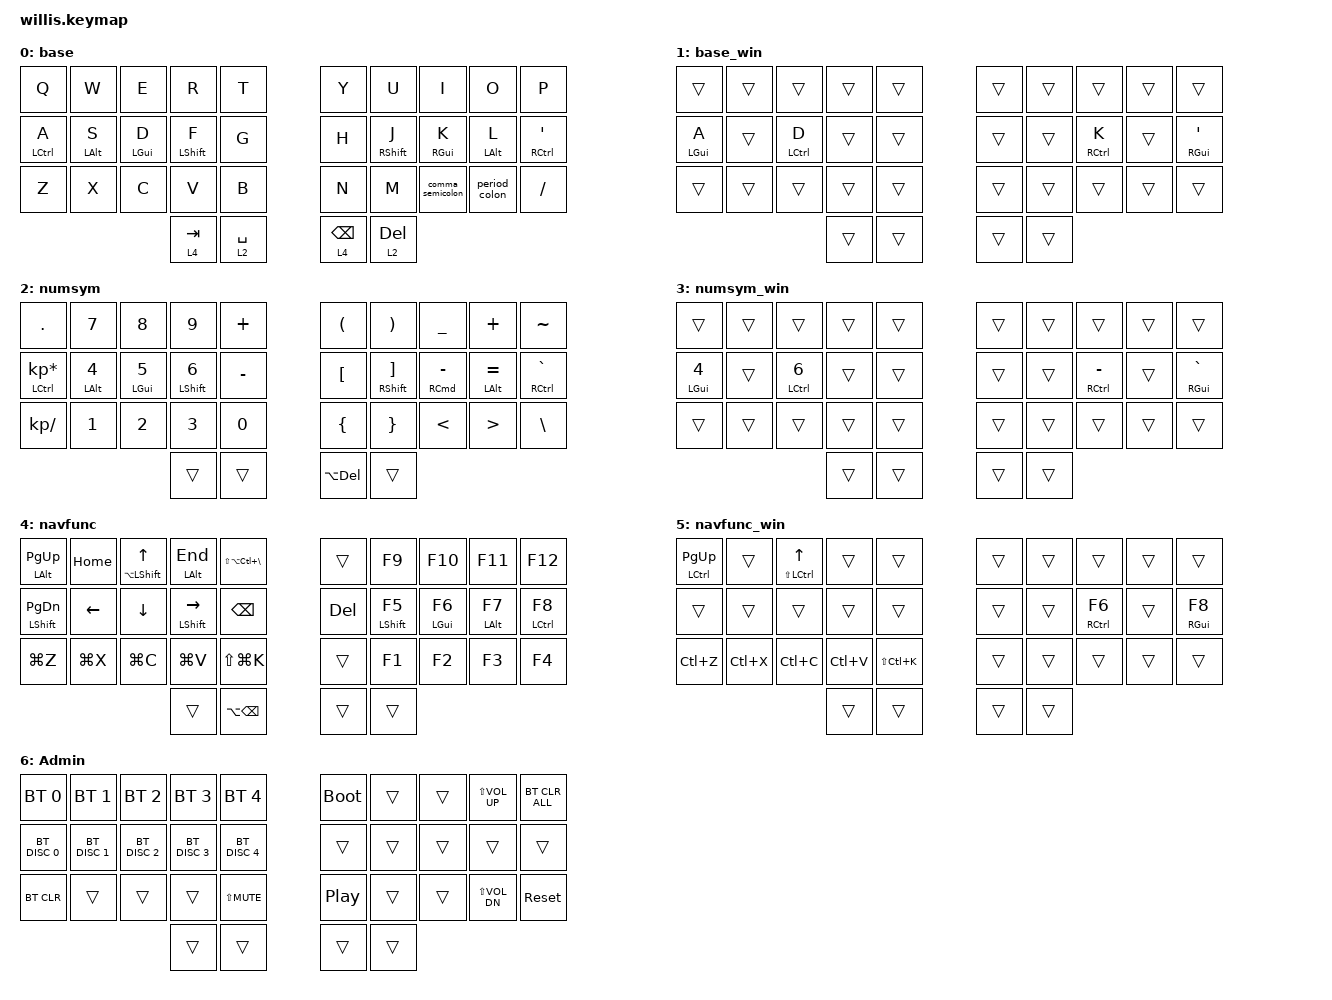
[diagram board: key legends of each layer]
// Copyright (c) 2022 The ZMK Contributors
// SPDX-License-Identifier: MIT

#include <behaviors.dtsi>
#include <dt-bindings/zmk/bt.h>
#include <dt-bindings/zmk/keys.h>

&lt {
    quick-tap-ms = <200>;
    flavor = "balanced";
    hold-while-undecided;
};

&mt { quick-tap-ms = <200>; };

/ {
    behaviors {
        hml: HOMEROW_L_MODS {
            compatible = "zmk,behavior-hold-tap";
            label = "HOMEROW_L_MODS";
            bindings = <&kp>, <&kp>;

            #binding-cells = <2>;
            tapping-term-ms = <200>;
            quick-tap-ms = <200>;
            flavor = "balanced";
            require-prior-idle-ms = <150>;
            hold-trigger-key-positions = <5 6 7 8 9 15 16 17 18 19 25 26 27 28 29 33 32 13 12 11 10>;
        };

        hsl: HOMEROW_L_SHIFT {
            compatible = "zmk,behavior-hold-tap";
            label = "HOMEROW_L_SHIFT";
            bindings = <&kp>, <&kp>;

            #binding-cells = <2>;
            tapping-term-ms = <200>;
            quick-tap-ms = <200>;
            flavor = "balanced";
            require-prior-idle-ms = <0>;
            hold-trigger-key-positions = <5 15 25 6 16 26 7 8 9 9 17 18 19 27 28 29 33 13 12 11 10 32>;
        };

        esc: esc {
            compatible = "zmk,behavior-tap-dance";
            label = "ESC";
            #binding-cells = <0>;
            bindings = <&kp Q>, <&kp ESC>;

            tapping-term-ms = <200>;
        };

        tab: tab {
            compatible = "zmk,behavior-tap-dance";
            label = "TAB";
            #binding-cells = <0>;
            bindings = <&mt LCTRL ENTER>, <&kp TAB>;

            tapping-term-ms = <250>;
        };

        comma_semicolon: comma_semicolon {
            compatible = "zmk,behavior-mod-morph";
            label = "COMMA_SEMICOLON";
            bindings = <&kp COMMA>, <&kp SEMICOLON>;

            #binding-cells = <0>;
            mods = <(MOD_LSFT|MOD_RSFT)>;
        };

        period_colon: period_colon {
            compatible = "zmk,behavior-mod-morph";
            label = "PERIOD_COLON";
            bindings = <&kp PERIOD>, <&kp COLON>;

            #binding-cells = <0>;
            mods = <(MOD_LSFT|MOD_RSFT)>;
        };

        hmr: HOMEROW_R_MODS {
            compatible = "zmk,behavior-hold-tap";
            label = "HOMEROW_R_MODS";
            bindings = <&kp>, <&kp>;

            #binding-cells = <2>;
            tapping-term-ms = <200>;
            quick-tap-ms = <200>;
            flavor = "balanced";
            require-prior-idle-ms = <150>;
            hold-trigger-key-positions = <0 1 2 3 4 10 11 12 13 14 20 21 22 23 24 30 31 16 17 18 19>;
        };

        hsr: HOMEROW_R_SHIFT {
            compatible = "zmk,behavior-hold-tap";
            label = "HOMEROW_R_SHIFT";
            bindings = <&kp>, <&kp>;

            #binding-cells = <2>;
            tapping-term-ms = <200>;
            quick-tap-ms = <200>;
            flavor = "balanced";
            require-prior-idle-ms = <0>;
            hold-trigger-key-positions = <0 1 2 3 4 10 11 12 13 14 20 21 22 23 24 30 16 17 18 19>;
        };
    };

    combos {
        compatible = "zmk,combos";

        left_enter {
            bindings = <&kp ENTER>;
            key-positions = <1 12 23>;
        };

        right_enter {
            bindings = <&kp ENTER>;
            key-positions = <8 17 26>;
        };

        esc {
            bindings = <&kp ESCAPE>;
            key-positions = <0 1>;
        };

        tab {
            bindings = <&kp TAB>;
            key-positions = <3 14>;
        };

        shift_tab {
            bindings = <&kp LS(TAB)>;
            key-positions = <2 13>;
        };

        hold_space {
            bindings = <&kp SPACE>;
            key-positions = <23 31>;
        };

        caps_word {
            bindings = <&caps_word>;
            key-positions = <13 16>;
        };

        toggle_nav {
            bindings = <&tog 2>;
            key-positions = <11 2 13>;
            layers = <0 2>;
            require-prior-idle-ms = <350>;
        };

        jsdoc {
            bindings = <&jsdoc>;
            key-positions = <29 28>;
        };

        caps_lock {
            bindings = <&kp CAPSLOCK>;
            key-positions = <13 12 16 17>;
        };

        screen_shot {
            bindings = <&kp LS(LG(N5))>;
            key-positions = <0 11>;
        };

        soft_off {
            bindings = <&soft_off>;
            key-positions = <0 32 9 31>;
        };

        bootloader {
            bindings = <&bootloader>;
            key-positions = <4 14 5 15>;
        };

        bt_clear_all {
            bindings = <&bt BT_CLR_ALL>;
            key-positions = <20 21 29 28 22 27>;
        };

        reset {
            bindings = <&sys_reset>;
            key-positions = <30 31 32 33 34 35>;
        };

        globe {
            bindings = <&kp GLOBE>;
            key-positions = <21 20 22>;
        };

        toggle_win {
            bindings = <&tog 1>;
            key-positions = <0 9>;
        };

        screenshot_win {
            bindings = <&kp LS(LG(S))>;
            key-positions = <0 11>;
            layers = <1>;
        };

        force_quit_mac {
            bindings = <&kp LA(LG(ESCAPE))>;
            key-positions = <0 1 2>;
        };

        mo_6_left {
            bindings = <&mo 6>;
            key-positions = <30 31>;
        };

        mo_6_right {
            bindings = <&mo 6>;
            key-positions = <32 33>;
        };

        studio_unlock {
            bindings = <&studio_unlock>;
            key-positions = <20 21 28 29>;
        };
    };

    macros {
        jsdoc: jsdoc {
            compatible = "zmk,behavior-macro";
            #binding-cells = <0>;
            bindings = <&kp FSLH &kp STAR &kp STAR &kp SPACE>;
            label = "JSDOC";
        };
    };

    keymap {
        compatible = "zmk,keymap";

        base {
            bindings = <
&kp Q         &kp W        &kp E            &kp R         &kp T        &kp Y            &kp U         &kp I             &kp O          &kp P
&hml LCTRL A  &hml LALT S  &hml LEFT_GUI D  &hml LSHFT F  &kp G        &kp H            &hsr RSHFT J  &hmr RIGHT_GUI K  &hmr LALT L    &hmr RCTRL SINGLE_QUOTE
&kp Z         &kp X        &kp C            &kp V         &kp B        &kp N            &kp M         &comma_semicolon  &period_colon  &kp FSLH
                           &lt 4 TAB                      &lt 2 SPACE  &lt 4 BACKSPACE                &lt 2 DELETE
            >;
        };

        base_win {
            bindings = <
&trans       &trans  &trans        &trans  &trans  &trans  &trans  &trans        &trans  &trans
&hml LGUI A  &trans  &hml LCTRL D  &trans  &trans  &trans  &trans  &hmr RCTRL K  &trans  &hmr RGUI SQT
&trans       &trans  &trans        &trans  &trans  &trans  &trans  &trans        &trans  &trans
                     &trans                &trans  &trans          &trans
            >;
        };

        numsym {
            bindings = <
&kp PERIOD              &kp N7                  &kp N8            &kp N9                    &kp PLUS   &kp LEFT_PARENTHESIS  &kp RIGHT_PARENTHESIS     &kp UNDER        &kp PLUS             &kp TILDE
&hml LCTRL KP_MULTIPLY  &hml LEFT_ALT NUMBER_4  &hml LEFT_GUI N5  &hsl LEFT_SHIFT NUMBER_6  &kp MINUS  &kp LEFT_BRACKET      &hsr RSHFT RIGHT_BRACKET  &hmr RCMD MINUS  &hmr LEFT_ALT EQUAL  &hmr RCTRL GRAVE
&kp KP_DIVIDE           &kp NUMBER_1            &kp NUMBER_2      &kp NUMBER_3              &kp N0     &kp LEFT_BRACE        &kp RIGHT_BRACE           &kp LESS_THAN    &kp GREATER_THAN     &kp BACKSLASH
                                                &trans                                      &trans     &kp LA(DELETE)                                  &trans
            >;
        };

        numsym_win {
            bindings = <
&trans              &trans  &trans         &trans  &trans  &trans  &trans  &trans            &trans  &trans
&hml LGUI NUMBER_4  &trans  &hml LCTRL N6  &trans  &trans  &trans  &trans  &hmr RCTRL MINUS  &trans  &hmr RGUI GRAVE
&trans              &trans  &trans         &trans  &trans  &trans  &trans  &trans            &trans  &trans
                            &trans                 &trans  &trans          &trans
            >;
        };

        navfunc {
            bindings = <
&mt LALT PG_UP            &kp HOME        &mt LA(LEFT_SHIFT) UP_ARROW  &mt LEFT_ALT END  &kp LS(LA(LC(BACKSLASH)))  &trans      &kp F9         &kp F10           &kp F11           &kp F12
&mt LEFT_SHIFT PAGE_DOWN  &kp LEFT_ARROW  &kp DOWN                     &mt LSHFT RIGHT   &kp BACKSPACE              &kp DELETE  &hsr LSHFT F5  &hmr LEFT_GUI F6  &hmr LEFT_ALT F7  &hmr LCTRL F8
&kp LG(Z)                 &kp LG(X)       &kp LG(C)                    &kp LG(V)         &kp LS(LG(K))              &trans      &kp F1         &kp F2            &kp F3            &kp F4
                                          &trans                                         &kp LA(BACKSPACE)          &trans                     &trans
            >;
        };

        navfunc_win {
            bindings = <
&mt LCTRL PG_UP  &trans     &mt LS(LCTRL) UP_ARROW  &trans     &trans         &trans  &trans  &trans         &trans  &trans
&trans           &trans     &trans                  &trans     &trans         &trans  &trans  &hmr RCTRL F6  &trans  &hmr RGUI F8
&kp LC(Z)        &kp LC(X)  &kp LC(C)               &kp LC(V)  &kp LS(LC(K))  &trans  &trans  &trans         &trans  &trans
                            &trans                             &trans         &trans          &trans
            >;
        };

        Admin {
            bindings = <
&bt BT_SEL 0   &bt BT_SEL 1   &bt BT_SEL 2   &bt BT_SEL 3   &bt BT_SEL 4    &bootloader       &trans  &trans  &kp LS(C_VOLUME_UP)  &bt BT_CLR_ALL
&bt BT_DISC 0  &bt BT_DISC 1  &bt BT_DISC 2  &bt BT_DISC 3  &bt BT_DISC 4   &trans            &trans  &trans  &trans               &trans
&bt BT_CLR     &trans         &trans         &trans         &kp LS(K_MUTE)  &kp C_PLAY_PAUSE  &trans  &trans  &kp LS(C_VOL_DN)     &sys_reset
                              &trans                        &trans          &trans                    &trans
            >;
        };
    };

    conditional_layers {
        compatible = "zmk,conditional-layers";

        num_sym_win {
            if-layers = <1 2>;
            then-layer = <3>;
        };

        nav_func_win {
            if-layers = <1 4>;
            then-layer = <5>;
        };
    };
};
